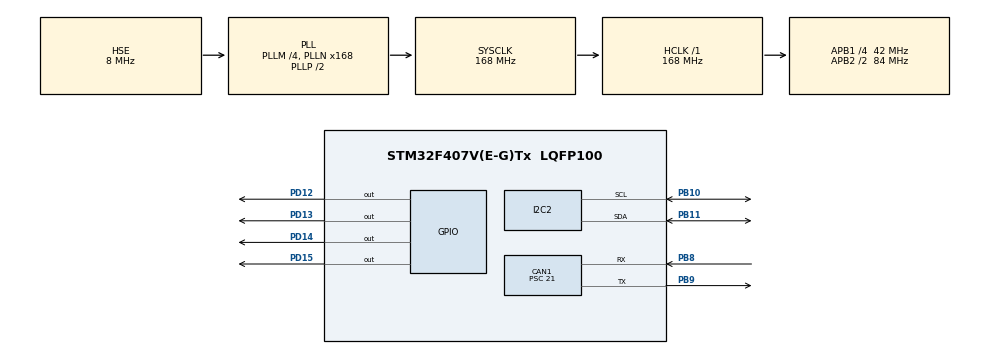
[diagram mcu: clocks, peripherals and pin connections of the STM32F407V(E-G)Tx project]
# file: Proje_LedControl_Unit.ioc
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CAN1.BS1=CAN_BS1_10TQ
CAN1.BS2=CAN_BS2_5TQ
CAN1.CalculateTimeQuantum=500.0
CAN1.Prescaler=21
Mcu.Family=STM32F4
Mcu.Name=STM32F407V(E-G)Tx
Mcu.Package=LQFP100
NVIC.CAN1_RX0_IRQn=true\:0\:0\:false\:false\:true\:true\:true
NVIC.PriorityGroup=NVIC_PRIORITYGROUP_4
PB10.Mode=I2C
PB10.Signal=I2C2_SCL
PB11.Mode=I2C
PB11.Signal=I2C2_SDA
PB8.Mode=Master
PB8.Signal=CAN1_RX
PB9.Mode=Master
PB9.Signal=CAN1_TX
PD12.Signal=GPIO_Output
PD13.Signal=GPIO_Output
PD14.Signal=GPIO_Output
PD15.Signal=GPIO_Output
PH0-OSC_IN.Mode=HSE-External-Oscillator
PH0-OSC_IN.Signal=RCC_OSC_IN
PH1-OSC_OUT.Mode=HSE-External-Oscillator
PH1-OSC_OUT.Signal=RCC_OSC_OUT
ProjectManager.HeapSize=0x200
ProjectManager.StackSize=0x400
ProjectManager.TargetToolchain=STM32CubeIDE
RCC.48MHZClocksFreq_Value=84000000
RCC.AHBFreq_Value=168000000
RCC.APB1CLKDivider=RCC_HCLK_DIV4
RCC.APB1Freq_Value=42000000
RCC.APB1TimFreq_Value=84000000
RCC.APB2CLKDivider=RCC_HCLK_DIV2
RCC.APB2Freq_Value=84000000
RCC.APB2TimFreq_Value=168000000
RCC.CortexFreq_Value=168000000
RCC.HCLKFreq_Value=168000000
RCC.HSE_VALUE=8000000
RCC.HSI_VALUE=16000000
RCC.LSE_VALUE=32768
RCC.PLLM=4
RCC.PLLN=168
RCC.PLLSourceVirtual=RCC_PLLSOURCE_HSE
RCC.SYSCLKFreq_VALUE=168000000
RCC.SYSCLKSource=RCC_SYSCLKSOURCE_PLLCLK
RCC.VCOOutputFreq_Value=336000000
board=custom

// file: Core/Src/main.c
/* USER CODE BEGIN Header */
/**
  ******************************************************************************
  * @file           : main.c
  * @brief          : Main program body
  ******************************************************************************
  * @attention
  *
  * <h2><center>&copy; Copyright (c) 2020 STMicroelectronics.
  * All rights reserved.</center></h2>
  *
  * This software component is licensed by ST under BSD 3-Clause license,
  * the "License"; You may not use this file except in compliance with the
  * License. You may obtain a copy of the License at:
  *                        opensource.org/licenses/BSD-3-Clause
  *
  ******************************************************************************
  */
/* USER CODE END Header */

#include "main.h"

/* USER CODE BEGIN Includes */
#include "i2c_lcd.h"
#include "StateLed.h"
/* USER CODE END Includes */

/* USER CODE BEGIN PD */
#define mLedGreen    GPIO_PIN_12
#define mLedOrange   GPIO_PIN_13
#define mLedRed      GPIO_PIN_14
#define mLedBlue     GPIO_PIN_15

/* USER CODE END PD */

CAN_HandleTypeDef hcan1;

I2C_HandleTypeDef hi2c2;

/* USER CODE BEGIN PV */

CAN_RxHeaderTypeDef pRxHeader;
CAN_TxHeaderTypeDef pTxHeader;
CAN_FilterTypeDef sFilterConfig;
uint32_t mTxMailbox;
uint8_t CanReceiveData[8];
uint8_t CanTransData[2];
uint32_t buf[32];

/* USER CODE END PV */

void SystemClock_Config(void);
static void MX_GPIO_Init(void);
static void MX_CAN1_Init(void);
static void MX_I2C2_Init(void);

/* USER CODE BEGIN 0 */
void Init_Tx_Can_Config()
{   // Set Transmit parameters
	  pTxHeader.DLC = 2;
	  pTxHeader.IDE = CAN_ID_STD;
	  pTxHeader.RTR = CAN_RTR_DATA;
	  pTxHeader.StdId = 0x0155; // Id of LedControlUnit

}

void Init_Filter_Can_Config()
{   // Set Filter Parameters
	sFilterConfig.FilterActivation =ENABLE;
	sFilterConfig.FilterBank = 0;
	sFilterConfig.FilterFIFOAssignment =CAN_FILTER_FIFO0;
	sFilterConfig.FilterIdHigh = 0x1994<<5; // Id of MaxMinRangeControl Message
	sFilterConfig.FilterIdLow = 0x0000;
	sFilterConfig.FilterMaskIdHigh = 0xFFFF;
	sFilterConfig.FilterMaskIdLow = 0x0000;
	sFilterConfig.FilterMode = CAN_FILTERMODE_IDMASK;
	sFilterConfig.FilterScale = CAN_FILTERSCALE_32BIT;
	HAL_CAN_ConfigFilter(&hcan1, &sFilterConfig);

}

/* USER CODE END 0 */

int main(void)
{

  /* MCU Configuration--------------------------------------------------------*/

  /* Reset of all peripherals, Initializes the Flash interface and the Systick. */
  HAL_Init();

  /* Configure the system clock */
  SystemClock_Config();

  /* Initialize all configured peripherals */
  MX_GPIO_Init();
  MX_CAN1_Init();
  MX_I2C2_Init();
  /* USER CODE BEGIN 2 */
  HAL_CAN_ActivateNotification(&hcan1, CAN_IT_RX_FIFO0_MSG_PENDING);

  Init_Tx_Can_Config();
  Init_Filter_Can_Config();
  HAL_CAN_Start(&hcan1);

  lcd_init();
  lcd_clear();
  lcd_put_cur(0, 0);
  lcd_send_string("Hi LedControl");
  HAL_Delay(2000);

  // Received parameters from MaxMinRangeControl Unit

  //uint8_t mMotorSpeed;
  //uint8_t state=1; // Initial state of the system
  /* USER CODE END 2 */

  /* Infinite loop */
  /* USER CODE BEGIN WHILE */

  MxMinMeasure_t mMeasurement_var = {0};
  MxMinMeasure_t mMaxRange_var = {0};
  MxMinMeasure_t mMinRange_var = {0};

  MxMinMeasure_t* mMeasurement_ptr = &mMeasurement_var;
  MxMinMeasure_t* mMaxRange_ptr = &mMaxRange_var;
  MxMinMeasure_t* mMinRange_ptr = &mMinRange_var;

  STATE_t state = NO_OBJECT;

  MotorSpeed_t mMotorSpeed = {0};

  while (1)
  {
    /* USER CODE END WHILE */

    /* USER CODE BEGIN 3 */

      mMeasurement_ptr->id = CanReceiveData[0];
      if (mMeasurement_ptr->id != 70)
          return -1;
      mMeasurement_ptr->data = CanReceiveData[1];

      mMaxRange_ptr->id = CanReceiveData[2];
      if (mMaxRange_ptr->id != 80)
          return -1;
      mMaxRange_ptr->data = CanReceiveData[3];

      mMinRange_ptr->id = CanReceiveData[4];
      if (mMinRange_ptr->id != 90)
          return -1;
      mMinRange_ptr->data = CanReceiveData[5];

	  lcd_clear();
	  lcd_put_cur(0, 0);
	  sprintf(buf,"d: %d cm",mMeasurement_ptr->data);
	  lcd_send_string(buf);
	  lcd_put_cur(0, 10);
	  sprintf(buf,"id: %d",mMeasurement_ptr->id);
	  lcd_send_string(buf);
	  lcd_put_cur(1, 0);
	  sprintf(buf,"Max:%d ",mMaxRange_ptr->data);
	  lcd_send_string(buf);
	  lcd_put_cur(1, 8);
	  sprintf(buf,"Min: %d",mMinRange_ptr->data);
	  lcd_send_string(buf);
	  HAL_Delay(100);

      if (mMaxRange_ptr->data == 0 || mMinRange_ptr->data == 0) //#[T1.2]
          state = ERROR_S; // State ERROR
      else if (mMeasurement_ptr->data <= mMinRange_ptr->data) //#[T2.1]
          state = HIGHSEQURITY; // State HIGHSEQURITY
      else if (mMeasurement_ptr->data > mMinRange_ptr->data&& mMeasurement_ptr->data <= mMaxRange_ptr->data) //#[T2.3]
          state = LOWSEQURITY; // State LOWSEQURITY
      else if (mMeasurement_ptr->data >= mMaxRange_ptr->data) //#[T2.4]
          state = NO_OBJECT; // State NO_OBJECT

      switch(state)
      {
		  case ERROR_S:
		  {
	    	  HAL_GPIO_WritePin(GPIOD, mLedOrange, GPIO_PIN_SET);
	    	  HAL_GPIO_WritePin(GPIOD, mLedBlue, GPIO_PIN_RESET);
	    	  HAL_GPIO_WritePin(GPIOD, mLedRed, GPIO_PIN_RESET);
	    	  HAL_GPIO_WritePin(GPIOD, mLedGreen, GPIO_PIN_RESET);
	    	  mMotorSpeed.data = 0;
	    	  mMotorSpeed.id = 50;
	    	  CanTransData[1]= mMotorSpeed.data; // mMotorSpeed =0
	    	  CanTransData[0]= mMotorSpeed.id; // mMotorSpeed =0
	    	  HAL_CAN_AddTxMessage(&hcan1, &pTxHeader, CanTransData, &mTxMailbox);// Send mMotorSpeed to MotorServoControl unit
              if ((mMeasurement_ptr->data <= mMinRange_ptr->data) && (mMaxRange_ptr->data != 0 && mMinRange_ptr->data != 0)) //# [T1.4]
                  state = HIGHSEQURITY;
              else if ((mMeasurement_ptr->data > mMinRange_ptr->data) && (mMeasurement_ptr->data <= mMaxRange_ptr->data) && (mMaxRange_ptr->data != 0 && mMinRange_ptr->data != 0)) //#[T1.3]
                  state = LOWSEQURITY;
              else if ((mMeasurement_ptr->data >= mMaxRange_ptr->data) && (mMaxRange_ptr->data != 0 && mMinRange_ptr->data != 0)) //# [T1.1]
                  state = NO_OBJECT;
              else
                  state = ERROR_S;
              break;
		  }
		  case HIGHSEQURITY:
		  {
			  HAL_GPIO_WritePin(GPIOD, mLedOrange, GPIO_PIN_RESET);
			  HAL_GPIO_WritePin(GPIOD, mLedBlue, GPIO_PIN_RESET);
			  HAL_GPIO_WritePin(GPIOD, mLedGreen, GPIO_PIN_RESET);
			  HAL_GPIO_WritePin(GPIOD, mLedRed, GPIO_PIN_SET);
	    	  mMotorSpeed.data = 0;
	    	  mMotorSpeed.id = 50;
	    	  CanTransData[0]= mMotorSpeed.id; // mMotorSpeed = 0
	    	  CanTransData[1]= mMotorSpeed.data;
			  HAL_CAN_AddTxMessage(&hcan1, &pTxHeader, CanTransData, &mTxMailbox);// Send mMotorSpeed to MotorServoControl unit
              if ((mMeasurement_ptr->data > mMinRange_ptr->data) && (mMeasurement_ptr->data <= mMaxRange_ptr->data)) //#[T2.2]
                  state = LOWSEQURITY;
			  break;
		  }
		  case LOWSEQURITY:
		  {
			  HAL_GPIO_WritePin(GPIOD, mLedOrange, GPIO_PIN_RESET);
			  HAL_GPIO_WritePin(GPIOD, mLedGreen, GPIO_PIN_RESET);
			  HAL_GPIO_WritePin(GPIOD, mLedRed, GPIO_PIN_RESET);
			  HAL_GPIO_WritePin(GPIOD, mLedBlue, GPIO_PIN_SET);
	    	  mMotorSpeed.data = 2;
	    	  mMotorSpeed.id = 50;
	    	  CanTransData[0]= mMotorSpeed.id;  // mMotorSpeed id
	    	  CanTransData[1]= mMotorSpeed.data;// mMotorSpeed =2
			  HAL_CAN_AddTxMessage(&hcan1, &pTxHeader, CanTransData, &mTxMailbox);// Send mMotorSpeed to MotorServoControl unit
			  break;
		  }
		  case NO_OBJECT:
		  {
			  HAL_GPIO_WritePin(GPIOD, mLedOrange, GPIO_PIN_RESET);
			  HAL_GPIO_WritePin(GPIOD, mLedBlue, GPIO_PIN_RESET);
			  HAL_GPIO_WritePin(GPIOD, mLedRed, GPIO_PIN_RESET);
			  HAL_GPIO_WritePin(GPIOD, mLedGreen, GPIO_PIN_SET);
	    	  mMotorSpeed.data = 1;
	    	  mMotorSpeed.id = 50;
	    	  CanTransData[0]= mMotorSpeed.id;
	    	  CanTransData[1]= mMotorSpeed.data; // mMotorSpeed =1
			  HAL_CAN_AddTxMessage(&hcan1, &pTxHeader, CanTransData, &mTxMailbox);// Send mMotorSpeed to MotorServoControl unit
			  break;

		  }

      }

  }
  /* USER CODE END 3 */
}

void SystemClock_Config(void)
{
  RCC_OscInitTypeDef RCC_OscInitStruct = {0};
  RCC_ClkInitTypeDef RCC_ClkInitStruct = {0};

  /** Configure the main internal regulator output voltage
  */
  __HAL_RCC_PWR_CLK_ENABLE();
  __HAL_PWR_VOLTAGESCALING_CONFIG(PWR_REGULATOR_VOLTAGE_SCALE1);
  /** Initializes the CPU, AHB and APB busses clocks
  */
  RCC_OscInitStruct.OscillatorType = RCC_OSCILLATORTYPE_HSE;
  RCC_OscInitStruct.HSEState = RCC_HSE_ON;
  RCC_OscInitStruct.PLL.PLLState = RCC_PLL_ON;
  RCC_OscInitStruct.PLL.PLLSource = RCC_PLLSOURCE_HSE;
  RCC_OscInitStruct.PLL.PLLM = 4;
  RCC_OscInitStruct.PLL.PLLN = 168;
  RCC_OscInitStruct.PLL.PLLP = RCC_PLLP_DIV2;
  RCC_OscInitStruct.PLL.PLLQ = 4;
  if (HAL_RCC_OscConfig(&RCC_OscInitStruct) != HAL_OK)
  {
    Error_Handler();
  }
  /** Initializes the CPU, AHB and APB busses clocks
  */
  RCC_ClkInitStruct.ClockType = RCC_CLOCKTYPE_HCLK|RCC_CLOCKTYPE_SYSCLK
                              |RCC_CLOCKTYPE_PCLK1|RCC_CLOCKTYPE_PCLK2;
  RCC_ClkInitStruct.SYSCLKSource = RCC_SYSCLKSOURCE_PLLCLK;
  RCC_ClkInitStruct.AHBCLKDivider = RCC_SYSCLK_DIV1;
  RCC_ClkInitStruct.APB1CLKDivider = RCC_HCLK_DIV4;
  RCC_ClkInitStruct.APB2CLKDivider = RCC_HCLK_DIV2;

  if (HAL_RCC_ClockConfig(&RCC_ClkInitStruct, FLASH_LATENCY_5) != HAL_OK)
  {
    Error_Handler();
  }
}

static void MX_CAN1_Init(void)
{

  hcan1.Instance = CAN1;
  hcan1.Init.Prescaler = 21;
  hcan1.Init.Mode = CAN_MODE_NORMAL;
  hcan1.Init.SyncJumpWidth = CAN_SJW_1TQ;
  hcan1.Init.TimeSeg1 = CAN_BS1_10TQ;
  hcan1.Init.TimeSeg2 = CAN_BS2_5TQ;
  hcan1.Init.TimeTriggeredMode = DISABLE;
  hcan1.Init.AutoBusOff = DISABLE;
  hcan1.Init.AutoWakeUp = DISABLE;
  hcan1.Init.AutoRetransmission = DISABLE;
  hcan1.Init.ReceiveFifoLocked = DISABLE;
  hcan1.Init.TransmitFifoPriority = DISABLE;
  if (HAL_CAN_Init(&hcan1) != HAL_OK)
  {
    Error_Handler();
  }

}

static void MX_I2C2_Init(void)
{

  hi2c2.Instance = I2C2;
  hi2c2.Init.ClockSpeed = 100000;
  hi2c2.Init.DutyCycle = I2C_DUTYCYCLE_2;
  hi2c2.Init.OwnAddress1 = 0;
  hi2c2.Init.AddressingMode = I2C_ADDRESSINGMODE_7BIT;
  hi2c2.Init.DualAddressMode = I2C_DUALADDRESS_DISABLE;
  hi2c2.Init.OwnAddress2 = 0;
  hi2c2.Init.GeneralCallMode = I2C_GENERALCALL_DISABLE;
  hi2c2.Init.NoStretchMode = I2C_NOSTRETCH_DISABLE;
  if (HAL_I2C_Init(&hi2c2) != HAL_OK)
  {
    Error_Handler();
  }

}

static void MX_GPIO_Init(void)
{
  GPIO_InitTypeDef GPIO_InitStruct = {0};

  /* GPIO Ports Clock Enable */
  __HAL_RCC_GPIOH_CLK_ENABLE();
  __HAL_RCC_GPIOB_CLK_ENABLE();
  __HAL_RCC_GPIOD_CLK_ENABLE();

  /*Configure GPIO pin Output Level */
  HAL_GPIO_WritePin(GPIOD, GPIO_PIN_12|GPIO_PIN_13|GPIO_PIN_14|GPIO_PIN_15, GPIO_PIN_RESET);

  /*Configure GPIO pins : PD12 PD13 PD14 PD15 */
  GPIO_InitStruct.Pin = GPIO_PIN_12|GPIO_PIN_13|GPIO_PIN_14|GPIO_PIN_15;
  GPIO_InitStruct.Mode = GPIO_MODE_OUTPUT_PP;
  GPIO_InitStruct.Pull = GPIO_NOPULL;
  GPIO_InitStruct.Speed = GPIO_SPEED_FREQ_LOW;
  HAL_GPIO_Init(GPIOD, &GPIO_InitStruct);

}

void Error_Handler(void)
{
}

/************************ (C) COPYRIGHT STMicroelectronics *****END OF FILE****/
